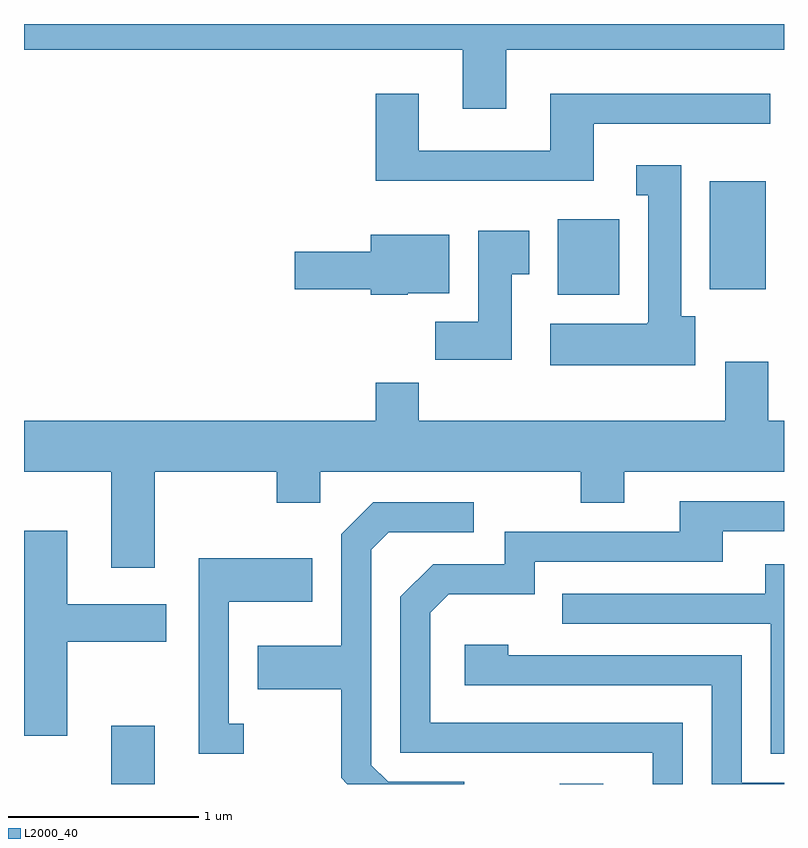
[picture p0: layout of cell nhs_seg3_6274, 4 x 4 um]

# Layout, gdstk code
import gdstk
lib = gdstk.Library(unit=1e-6, precision=1e-09)
def R(c, l, rs):  # rectangles x0, y0, x1, y1
    for r in rs: c.add(gdstk.rectangle(r[:2], r[2:], *l))
def P(c, l, *ps):  # polygons
    for p in ps: c.add(gdstk.Polygon(p, *l))
L2000_40 = (2000, 40)

nhs_seg3_6274 = lib.new_cell('nhs_seg3_6274')
R(nhs_seg3_6274, L2000_40, [(370.071,1159.892,370.299,1160.199), (372.431,1159.892,372.659,1159.894), (372.421,1162.466,372.744,1162.864), (373.221,1162.496,373.514,1163.064)])
P(nhs_seg3_6274, L2000_40, [(372.149,1163.756),(373.611,1163.756),(373.611,1163.892),(369.611,1163.892),(369.611,1163.756),(371.921,1163.756),(371.921,1163.446),(372.149,1163.446)],
  [(372.609,1163.366),(373.538,1163.366),(373.538,1163.524),(372.381,1163.524),(372.381,1163.224),(371.689,1163.224),(371.689,1163.524),(371.461,1163.524),(371.461,1163.066),(372.609,1163.066)],
  [(373.144,1162.354),(373.069,1162.354),(373.069,1163.149),(372.833,1163.149),(372.833,1162.991),(372.896,1162.991),(372.896,1162.32),(372.89,1162.32),(372.89,1162.314),(372.381,1162.314),(372.381,1162.096),(373.144,1162.096)],
  [(372.179,1162.576),(372.269,1162.576),(372.269,1162.804),(372.001,1162.804),(372.001,1162.324),(371.776,1162.324),(371.776,1162.126),(372.179,1162.126)],
  [(371.63,1162.476),(371.849,1162.476),(371.849,1162.784),(371.436,1162.784),(371.436,1162.694),(371.036,1162.694),(371.036,1162.496),(371.436,1162.496),(371.436,1162.466),(371.63,1162.466)],
  [(370.299,1161.536),(370.941,1161.536),(370.941,1161.371),(371.169,1161.371),(371.169,1161.536),(372.541,1161.536),(372.541,1161.371),(372.769,1161.371),(372.769,1161.536),(373.611,1161.536),(373.611,1161.804),(373.529,1161.804),(373.529,1162.114),(373.301,1162.114),(373.301,1161.804),(371.689,1161.804),(371.689,1162.004),(371.461,1162.004),(371.461,1161.804),(369.611,1161.804),(369.611,1161.536),(370.071,1161.536),(370.071,1161.031),(370.299,1161.031)],
  [(373.079,1160.214),(371.749,1160.214),(371.749,1160.794),(371.847,1160.891),(372.299,1160.891),(372.299,1161.061),(373.289,1161.061),(373.289,1161.221),(373.611,1161.221),(373.611,1161.379),(373.061,1161.379),(373.061,1161.219),(372.141,1161.219),(372.141,1161.049),(371.764,1161.049),(371.591,1160.877),(371.591,1160.056),(372.921,1160.056),(372.921,1159.892),(373.079,1159.892)],
  [(371.928,1159.904),(371.527,1159.904),(371.439,1159.992),(371.439,1161.124),(371.532,1161.216),(371.978,1161.216),(371.978,1161.374),(371.449,1161.374),(371.281,1161.207),(371.281,1160.619),(370.841,1160.619),(370.841,1160.391),(371.281,1160.391),(371.281,1159.924),(371.313,1159.892),(371.928,1159.892)],
  [(369.839,1160.641),(370.359,1160.641),(370.359,1160.839),(369.839,1160.839),(369.839,1161.224),(369.611,1161.224),(369.611,1160.146),(369.839,1160.146)],
  [(370.768,1160.209),(370.689,1160.209),(370.689,1160.851),(371.129,1160.851),(371.129,1161.079),(370.531,1161.079),(370.531,1160.051),(370.768,1160.051)],
  [(373.611,1161.049),(373.511,1161.049),(373.511,1160.894),(372.443,1160.894),(372.443,1160.736),(373.541,1160.736),(373.541,1160.051),(373.611,1160.051)],
  [(373.611,1159.899),(373.389,1159.899),(373.389,1160.569),(372.159,1160.569),(372.159,1160.624),(371.931,1160.624),(371.931,1160.411),(373.231,1160.411),(373.231,1159.892),(373.611,1159.892)])

lib.write_gds('nhs_seg3_6274.gds')
